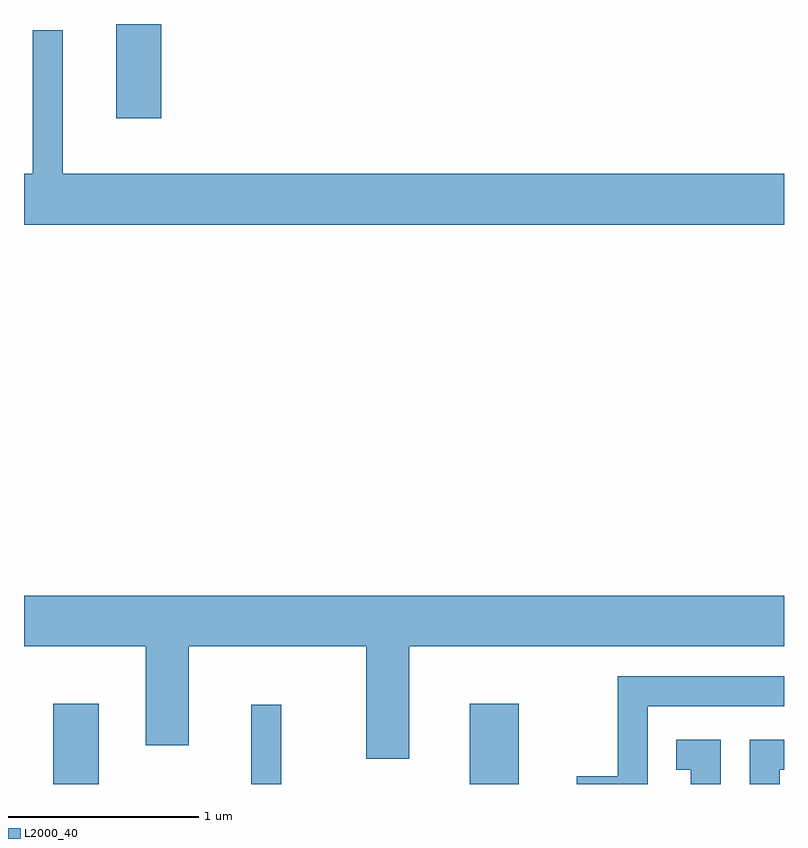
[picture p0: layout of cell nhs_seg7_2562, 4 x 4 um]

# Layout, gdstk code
import gdstk
lib = gdstk.Library(unit=1e-6, precision=1e-09)
def R(c, l, rs):  # rectangles x0, y0, x1, y1
    for r in rs: c.add(gdstk.rectangle(r[:2], r[2:], *l))
def P(c, l, *ps):  # polygons
    for p in ps: c.add(gdstk.Polygon(p, *l))
L2000_40 = (2000, 40)

nhs_seg7_2562 = lib.new_cell('nhs_seg7_2562')
R(nhs_seg7_2562, L2000_40, [(263.766,1720.252,264.004,1720.674), (264.806,1720.252,264.964,1720.668), (265.956,1720.252,266.214,1720.674), (264.096,1723.756,264.334,1724.252)])
P(nhs_seg7_2562, L2000_40, [(267.611,1723.464),(263.814,1723.464),(263.814,1724.218),(263.656,1724.218),(263.656,1723.464),(263.611,1723.464),(263.611,1723.196),(267.611,1723.196)],
  [(265.639,1720.976),(267.611,1720.976),(267.611,1721.244),(263.611,1721.244),(263.611,1720.976),(264.251,1720.976),(264.251,1720.456),(264.479,1720.456),(264.479,1720.976),(265.411,1720.976),(265.411,1720.386),(265.639,1720.386)],
  [(266.894,1720.661),(267.611,1720.661),(267.611,1720.819),(266.736,1720.819),(266.736,1720.294),(266.521,1720.294),(266.521,1720.252),(266.894,1720.252)],
  [(267.279,1720.484),(267.043,1720.484),(267.043,1720.326),(267.121,1720.326),(267.121,1720.252),(267.279,1720.252)],
  [(267.589,1720.326),(267.611,1720.326),(267.611,1720.484),(267.431,1720.484),(267.431,1720.252),(267.589,1720.252)])

lib.write_gds('nhs_seg7_2562.gds')
